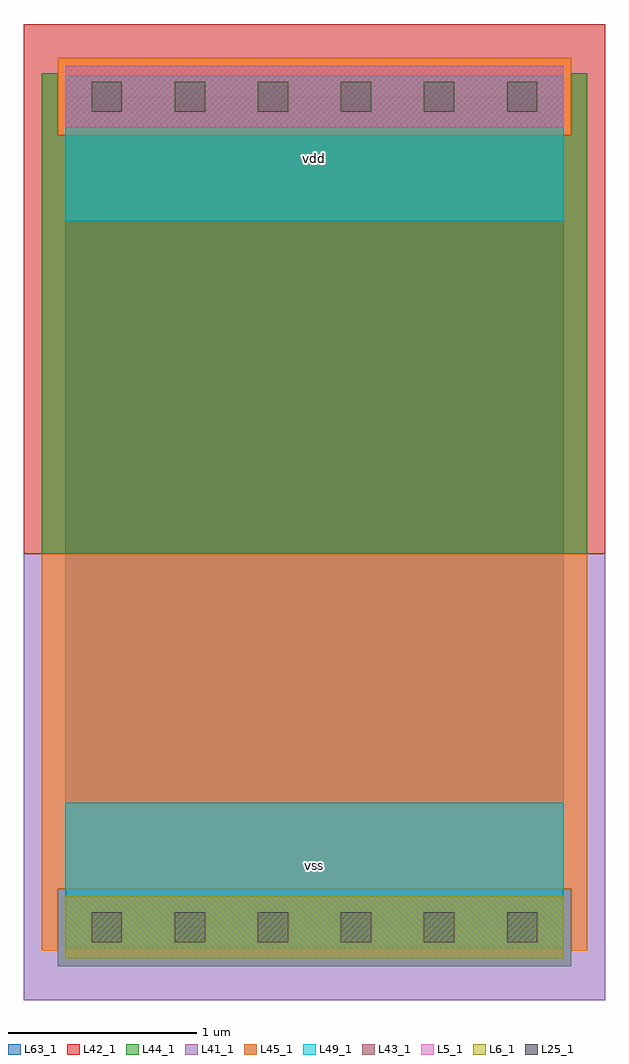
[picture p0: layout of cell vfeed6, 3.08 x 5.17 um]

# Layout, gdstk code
import gdstk
lib = gdstk.Library(unit=1e-6, precision=1e-09)
def R(c, l, rs):  # rectangles x0, y0, x1, y1
    for r in rs: c.add(gdstk.rectangle(r[:2], r[2:], *l))
def A(c, l, x, y, w, h, nx, ny, dx, dy):  # array of equal rectangles
    R(c, l, [(x+i*dx, y+j*dy, x+i*dx+w, y+j*dy+h) for i in range(nx) for j in range(ny)])
L5_1 = (5, 1)
L6_1 = (6, 1)
L25_1 = (25, 1)
L41_1 = (41, 1)
L42_1 = (42, 1)
L43_1 = (43, 1)
L44_1 = (44, 1)
L45_1 = (45, 1)
L49_1 = (49, 1)
L63_1 = (63, 1)

vfeed6 = lib.new_cell('vfeed6')
R(vfeed6, L5_1, [(0,4.235,2.64,4.565)])
R(vfeed6, L6_1, [(0,-0.165,2.64,0.165)])
A(vfeed6, L25_1, 0.14, -0.08, 0.16, 0.16, 6, 2, 0.44, 4.4)
R(vfeed6, L41_1, [(-0.22,-0.385,2.86,1.98)])
R(vfeed6, L42_1, [(-0.22,1.98,2.86,4.785)])
R(vfeed6, L43_1, [(0,-0.165,2.64,0.165), (0,4.235,2.64,4.565)])
R(vfeed6, L44_1, [(-0.04,-0.205,2.68,0.205), (-0.125,1.98,2.765,4.195), (-0.125,4.195,-0.04,4.525), (2.68,4.195,2.765,4.525)])
R(vfeed6, L45_1, [(-0.125,-0.125,-0.04,0.205), (2.68,-0.125,2.765,0.205), (-0.125,0.205,2.765,1.98), (-0.04,4.195,2.68,4.605)])
R(vfeed6, L49_1, [(0,-0.11,2.64,0.66), (0,3.74,2.64,4.51)])
R(vfeed6, L63_1, [(0,0,2.64,4.4)])
vfeed6.add(gdstk.Label('vss', (1.32,0.33), layer=49, texttype=1))
vfeed6.add(gdstk.Label('vdd', (1.32,4.07), layer=49, texttype=1))

lib.write_gds('vfeed6.gds')
